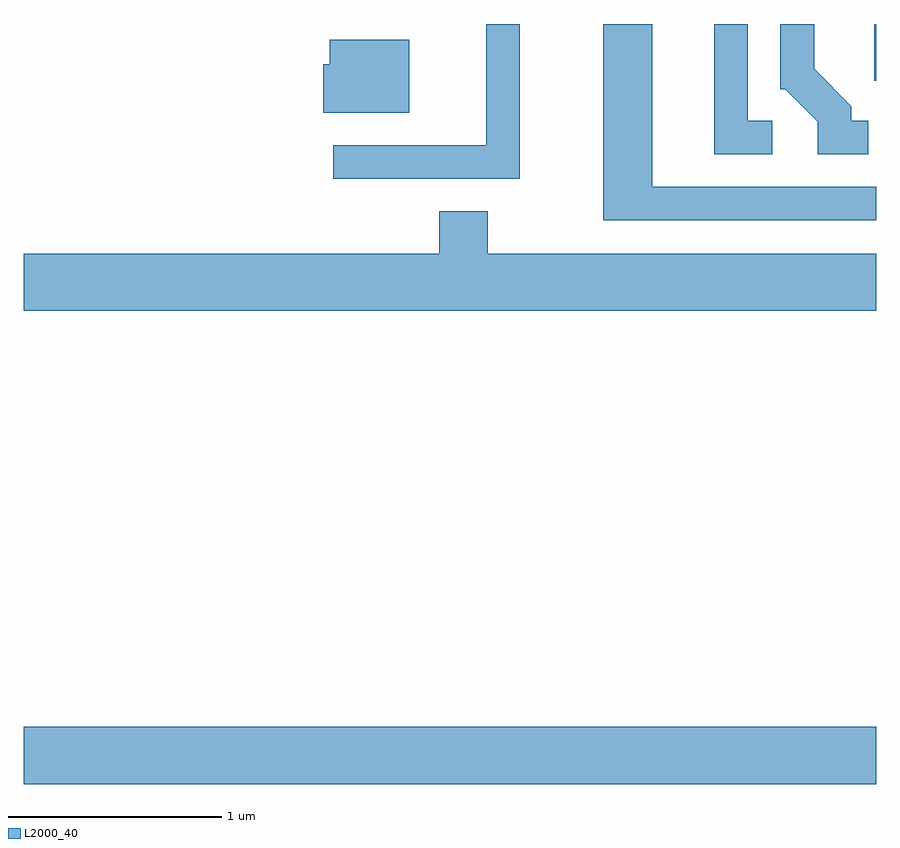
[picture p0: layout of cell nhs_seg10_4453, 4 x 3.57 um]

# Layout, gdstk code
import gdstk
lib = gdstk.Library(unit=1e-6, precision=1e-09)
def R(c, l, rs):  # rectangles x0, y0, x1, y1
    for r in rs: c.add(gdstk.rectangle(r[:2], r[2:], *l))
def P(c, l, *ps):  # polygons
    for p in ps: c.add(gdstk.Polygon(p, *l))
L2000_40 = (2000, 40)

nhs_seg10_4453 = lib.new_cell('nhs_seg10_4453')
R(nhs_seg10_4453, L2000_40, [(315.611,2184.956,319.611,2185.224), (319.601,2188.256,319.611,2188.522)])
P(nhs_seg10_4453, L2000_40, [(317.939,2188.522),(317.781,2188.522),(317.781,2187.954),(317.063,2187.954),(317.063,2187.796),(317.939,2187.796)],
  [(319.123,2188.069),(319.009,2188.069),(319.009,2188.522),(318.851,2188.522),(318.851,2187.911),(319.123,2187.911)],
  [(319.611,2187.759),(318.559,2187.759),(318.559,2188.522),(318.331,2188.522),(318.331,2187.601),(319.611,2187.601)],
  [(319.573,2188.069),(319.494,2188.069),(319.494,2188.137),(319.319,2188.312),(319.319,2188.522),(319.161,2188.522),(319.161,2188.216),(319.184,2188.216),(319.336,2188.064),(319.336,2187.911),(319.573,2187.911)],
  [(317.419,2188.449),(317.046,2188.449),(317.046,2188.334),(317.016,2188.334),(317.016,2188.106),(317.419,2188.106)],
  [(319.611,2187.444),(317.789,2187.444),(317.789,2187.644),(317.561,2187.644),(317.561,2187.444),(315.611,2187.444),(315.611,2187.176),(319.611,2187.176)])

lib.write_gds('nhs_seg10_4453.gds')
